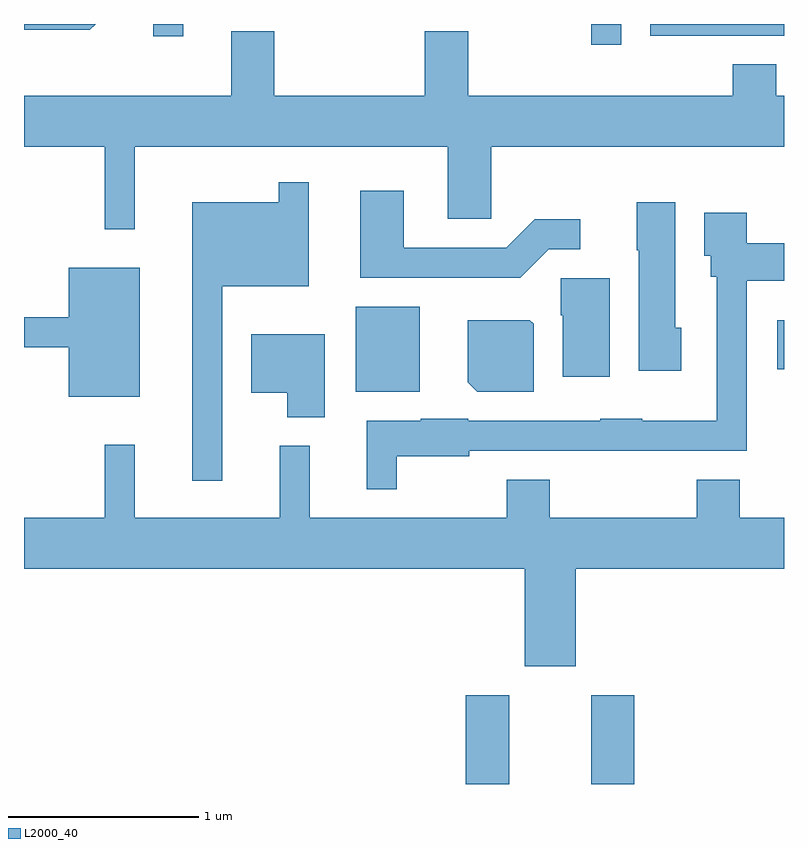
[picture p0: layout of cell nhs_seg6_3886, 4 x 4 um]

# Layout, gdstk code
import gdstk
lib = gdstk.Library(unit=1e-6, precision=1e-09)
def R(c, l, rs):  # rectangles x0, y0, x1, y1
    for r in rs: c.add(gdstk.rectangle(r[:2], r[2:], *l))
def P(c, l, *ps):  # polygons
    for p in ps: c.add(gdstk.Polygon(p, *l))
L2000_40 = (2000, 40)

nhs_seg6_3886 = lib.new_cell('nhs_seg6_3886')
R(nhs_seg6_3886, L2000_40, [(303.936,1622.162,304.164,1622.629), (304.596,1622.162,304.824,1622.629), (303.356,1624.226,303.694,1624.674), (305.576,1624.346,305.611,1624.604), (304.596,1626.053,304.754,1626.162), (302.291,1626.098,302.449,1626.162), (304.906,1626.101,305.611,1626.162)])
P(nhs_seg6_3886, L2000_40, [(301.988,1626.162),(301.611,1626.162),(301.611,1626.131),(301.957,1626.131)],
  [(302.194,1625.516),(303.841,1625.516),(303.841,1625.136),(304.069,1625.136),(304.069,1625.516),(305.611,1625.516),(305.611,1625.784),(305.569,1625.784),(305.569,1625.949),(305.341,1625.949),(305.341,1625.784),(303.949,1625.784),(303.949,1626.124),(303.721,1626.124),(303.721,1625.784),(302.929,1625.784),(302.929,1626.124),(302.701,1626.124),(302.701,1625.784),(301.611,1625.784),(301.611,1625.516),(302.036,1625.516),(302.036,1625.083),(302.194,1625.083)],
  [(302.654,1624.781),(303.109,1624.781),(303.109,1625.328),(302.951,1625.328),(302.951,1625.224),(302.496,1625.224),(302.496,1623.758),(302.654,1623.758)],
  [(304.372,1624.976),(304.538,1624.976),(304.538,1625.134),(304.299,1625.134),(304.149,1624.984),(303.609,1624.984),(303.609,1625.284),(303.381,1625.284),(303.381,1624.826),(304.222,1624.826)],
  [(305.069,1624.564),(305.039,1624.564),(305.039,1625.224),(304.836,1625.224),(304.836,1624.97),(304.846,1624.97),(304.846,1624.336),(305.069,1624.336)],
  [(303.574,1623.886),(303.954,1623.886),(303.954,1623.916),(305.414,1623.916),(305.414,1624.811),(305.611,1624.811),(305.611,1625.009),(305.414,1625.009),(305.414,1625.169),(305.191,1625.169),(305.191,1624.941),(305.226,1624.941),(305.226,1624.831),(305.256,1624.831),(305.256,1624.074),(304.865,1624.074),(304.865,1624.084),(304.645,1624.084),(304.645,1624.074),(303.95,1624.074),(303.95,1624.084),(303.7,1624.084),(303.7,1624.074),(303.416,1624.074),(303.416,1623.713),(303.574,1623.713)],
  [(302.219,1624.879),(301.846,1624.879),(301.846,1624.619),(301.611,1624.619),(301.611,1624.461),(301.846,1624.461),(301.846,1624.201),(302.219,1624.201)],
  [(304.694,1624.824),(304.436,1624.824),(304.436,1624.63),(304.446,1624.63),(304.446,1624.306),(304.694,1624.306)],
  [(304.294,1624.584),(304.274,1624.604),(303.946,1624.604),(303.946,1624.277),(303.997,1624.226),(304.294,1624.226)],
  [(303.194,1624.529),(302.806,1624.529),(302.806,1624.221),(302.996,1624.221),(302.996,1624.091),(303.194,1624.091)],
  [(304.514,1623.296),(305.611,1623.296),(305.611,1623.564),(305.379,1623.564),(305.379,1623.764),(305.151,1623.764),(305.151,1623.564),(304.379,1623.564),(304.379,1623.764),(304.151,1623.764),(304.151,1623.564),(303.114,1623.564),(303.114,1623.943),(302.956,1623.943),(302.956,1623.564),(302.194,1623.564),(302.194,1623.948),(302.036,1623.948),(302.036,1623.564),(301.611,1623.564),(301.611,1623.296),(304.246,1623.296),(304.246,1622.781),(304.514,1622.781)])

lib.write_gds('nhs_seg6_3886.gds')
